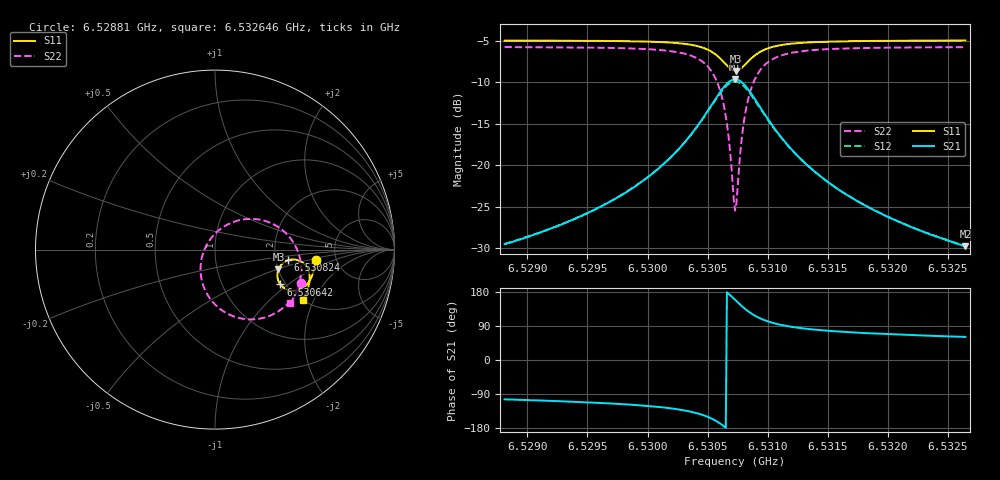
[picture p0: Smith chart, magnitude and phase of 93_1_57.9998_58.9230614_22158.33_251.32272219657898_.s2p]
#  HZ  S  RI  R  50.00
! Rohde & Schwarz Vector Network Analyzer
! Rohde-Schwarz,ZNB20-2Port,1311601062101988,3.16
! Created: UTC 3/21/2024, 12:54:23 AM
! freq[Hz]  re:S11  im:S11  re:S21  im:S21  re:S12  im:S12  re:S22  im:S22
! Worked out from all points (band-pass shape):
!   401 points, 6.52881 GHz to 6.532646 GHz, reference 50 ohm
!   highest |S21| = -9.65 dB at 6.530728 GHz (marker M1); lowest = -29.8 dB at 6.532646 GHz (marker M2)
!   |S21| within 3 dB of the highest: 6.530537 GHz to 6.530921 GHz (383.9 kHz wide, 0.00588 % of centre)
!   lowest |S11| = -8.6 dB at 6.530738 GHz (marker M3), VSWR 2.17, Z = 100 - j25.7 ohm
!   |S11| at or under -10 dB: nowhere
!   |S22| runs from -25.5 to -5.8 dB; largest |S21 - S12| = 0.014
!   S11 on the Smith chart (normalised r, x): 6.52881 GHz: 3.48, -0.57; 6.530642 GHz: 1.88, -0.88; 6.530824 GHz: 2.35, -0.33; 6.532646 GHz: 2.01, -1.66
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6.5288104e9  0.5607 -0.0558  -0.0079 -0.0325  -0.00862 -0.0323  0.4809 -0.1855
6.5294529e9  0.5513 -0.1106  -0.0179 -0.0461  -0.019 -0.0459  0.4485 -0.2476
6.5298077e9  0.5405 -0.1452  -0.0306 -0.0604  -0.0322 -0.0597  0.4149 -0.2913
6.5300954e9  0.5238 -0.1783  -0.0536 -0.0797  -0.0558 -0.0781  0.3626 -0.3378
6.5303159e9  0.4963 -0.2087  -0.0959 -0.1009  -0.099 -0.0975  0.2771 -0.3783
6.5304789e9  0.4505 -0.2288  -0.1688 -0.1086  -0.1714 -0.1013  0.1428 -0.3832
6.5305748e9  0.4026 -0.2235  -0.2435 -0.0812  -0.2426 -0.0703  0.0177 -0.3222
6.530642e9  0.3647 -0.1943  -0.299 -0.019  -0.2924 -0.00795  -0.0633 -0.2067
6.5306707e9  0.3529 -0.1729  -0.314 0.022  -0.3046 0.0317  -0.0795 -0.1356
6.5307091e9  0.3474 -0.1377  -0.3158 0.0858  -0.3038 0.0919  -0.0699 -0.0305
6.5307283e9  0.3503 -0.1195  -0.3072 0.118  -0.2948 0.122  -0.0493 0.0203
6.5307379e9  0.3532 -0.1105  -0.3006 0.1333  -0.2882 0.1362  -0.0355 0.0441
6.5307474e9  0.357 -0.102  -0.2924 0.1479  -0.2801 0.1496  -0.0195 0.0663
6.5307858e9  0.3795 -0.0744  -0.2486 0.1948  -0.2382 0.1929  0.061 0.1348
6.5308242e9  0.408 -0.0589  -0.1968 0.2203  -0.1891 0.2166  0.1513 0.1671
6.5308913e9  0.4544 -0.0569  -0.1159 0.2234  -0.1121 0.2199  0.2871 0.1572
6.5309872e9  0.4954 -0.0787  -0.046 0.1913  -0.0443 0.1892  0.4001 0.0864
6.531131e9  0.5202 -0.1154  -0.00327 0.142  -0.00217 0.1411  0.4629 -0.0141
6.5313708e9  0.5278 -0.1596  0.0151 0.0929  0.0162 0.0926  0.4799 -0.1164
6.531668e9  0.5231 -0.197  0.0186 0.063  0.0195 0.0627  0.4706 -0.1862
6.5320132e9  0.5132 -0.2303  0.0181 0.0448  0.0188 0.0446  0.4535 -0.2363
6.5326461e9  0.4907 -0.2803  0.0158 0.0284  0.0164 0.0281  0.4206 -0.2967
